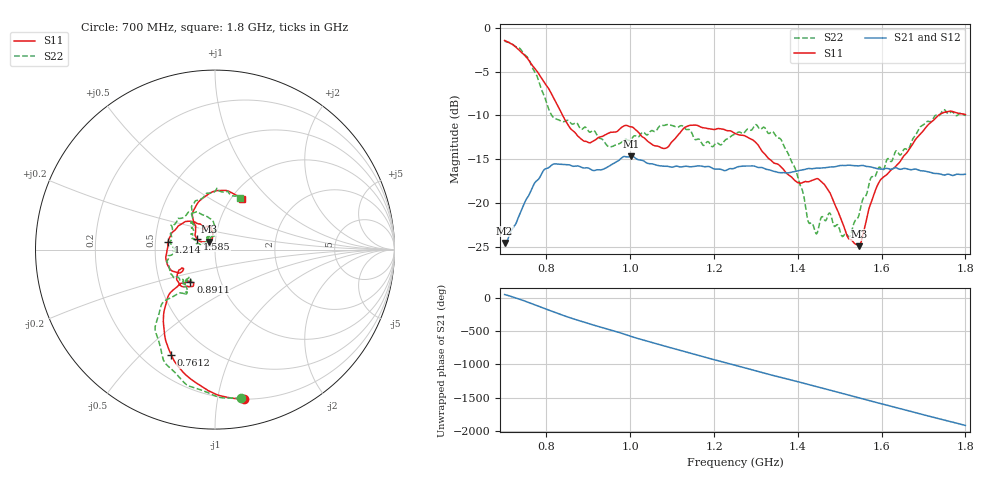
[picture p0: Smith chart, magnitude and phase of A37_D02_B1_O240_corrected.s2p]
! Created with skrf 1.9.0 (http://scikit-rf.org).
# Hz S RI R 50.0
!freq ReS11 ImS11 ReS21 ImS21 ReS12 ImS12 ReS22 ImS22
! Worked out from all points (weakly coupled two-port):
!   1601 points, 700 MHz to 1.8 GHz, reference 50 ohm
!   highest |S21| = -14.65 dB at 1.002 GHz (marker M1); lowest = -24.6 dB at 700 MHz (marker M2)
!   lowest |S11| = -25.0 dB at 1.546 GHz (marker M3), VSWR 1.12, Z = 46.4 + j4.11 ohm
!   |S11| at or under -10 dB: 838.8 MHz to 1.735 GHz (896.4 MHz wide, 69.7 % of centre)
!   |S22| runs from -23.9 to -1.5 dB; largest |S21 - S12| = 0.0035
!   S11 on the Smith chart (normalised r, x): 700 MHz: 0.20, -1.19; 761.2 MHz: 0.32, -0.62; 891.1 MHz: 0.72, -0.27; 1.214 GHz: 0.58, +0.05; 1.585 GHz: 0.81, +0.10; 1.8 GHz: 1.12, +0.70
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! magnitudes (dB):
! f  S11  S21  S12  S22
! 700 MHz  -1.4  -24.6  -24.4  -1.5
! 761.2 MHz  -3.9  -18.8  -18.7  -3.9
! 814.1 MHz  -7.7  -15.6  -15.7  -10.1
! 883.6 MHz  -12.7  -15.9  -15.8  -11.6
! 891.1 MHz  -13.0  -16.0  -16.0  -11.3
! 950.2 MHz  -12.0  -15.8  -15.8  -13.6
! 1.002 GHz  -11.3  -14.6  -14.8  -12.7
! 1.067 GHz  -13.5  -15.7  -15.7  -11.4
! 1.14 GHz  -11.2  -15.9  -15.8  -11.6
! 1.214 GHz  -11.5  -16.1  -16.1  -13.4
! 1.25 GHz  -12.1  -16.0  -15.9  -12.1
! 1.3 GHz  -13.1  -15.9  -15.9  -11.0
! 1.359 GHz  -15.8  -16.6  -16.5  -12.7
! 1.394 GHz  -17.5  -16.4  -16.4  -16.2
! 1.434 GHz  -17.4  -16.1  -16.1  -22.3
! 1.471 GHz  -18.5  -15.9  -15.9  -21.5
! 1.522 GHz  -24.1  -15.7  -15.7  -23.9
! 1.546 GHz  -25.0  -15.8  -15.7  -21.4
! 1.585 GHz  -18.5  -16.0  -16.0  -16.9
! 1.617 GHz  -16.5  -16.1  -16.1  -15.0
! 1.737 GHz  -9.9  -16.7  -16.7  -10.0
! 1.8 GHz  -9.9  -16.7  -16.7  -10.0
